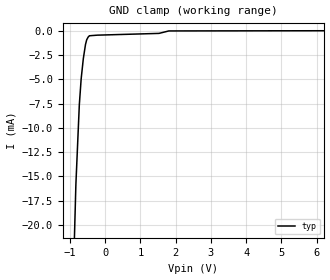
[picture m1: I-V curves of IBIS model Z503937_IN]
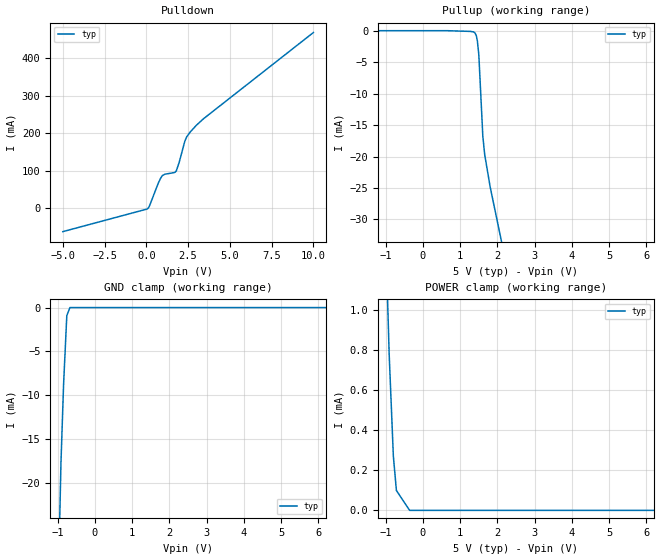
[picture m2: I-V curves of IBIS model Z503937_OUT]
| YOU ARE ONLY AUTHORIZED TO USE THIS SOFTWARE
| ACCORDING TO LICENSOR'S LICENSE RESTRICTIONS.
[IBIS Ver] 3.1
[File Name] mc54f379j.ibs
[File Rev] 2.0
[Source] Measured and created by ICX Technology
[Date] Friday 7/14/00 9:08:03 AM
[Copyright]
| (C) COPYRIGHT 1993-2000
| MENTOR GRAPHICS CORPORATION
| ICX STANDARD LIBRARY, ICX PROJECT MODELING,
| ICX CUSTOM MODELING, ICX VENDOR MODEL
| ALL RIGHTS RESERVED.
| THE FOLLOWING ARE TRADEMARKS OR SERVICE MARKS OF
| MENTOR GRAPHICS CORPORATION:ICX (R), ICX STANDARD
| LIBRARY(R), ICX PROJECT MODELING(R), ICX CUSTOM
| MODELING(R), qualityIBIS(TM), MODELVIEWER(TM),
| AND MODELEDITOR(TM)
| ALL COPIES OF SOFTWARE, INCLUDING BUT NOT LIMITED TO
| ANY MODIFICATIONS, ENHANCEMENTS OR DERIVATIVE WORKS,
| MUST CONTAIN ALL MENTOR GRAPHICS CORPORATION'S
| NOTICES AND LEGENDS, INCLUDING THOSE EMBEDDED IN
| SOFTWARE AND THOSE AFFIXED TO SOFTWARE MEDIUM
| AND CONTAINER, AS RECEIVED FROM MENTOR GRAPHICS
| CORPORATION.
|  ZAP Model Builder 2.7
[Component] MC54F379J
[Manufacturer] OnSemiconductor
[Package]
| variable   typ   min   max
R_pkg  .212ohms NA NA
L_pkg  4.758nH NA NA
C_pkg  1.944pF NA NA
[Pin] signal_name  model_name  R_pin  L_pin C_pin
1 _G Z503937_IN .224 7.258n 2.683p
2 Q0 Z503937_OUT .216 5.258n 2.19p
3 _Q0 Z503937_OUT .208 3.758n 1.697p
4 D0 Z503937_IN .2 2.758n 1.204p
5 D1 Z503937_IN .2 2.758n 1.204p
6 _Q1 Z503937_OUT .208 3.758n 1.697p
7 Q1 Z503937_OUT .216 5.258n 2.19p
8 GND GND .224 7.258n 2.683p
9 CLK Z503937_IN .224 7.258n 2.683p
10 Q2 Z503937_OUT .216 5.258n 2.19p
11 _Q2 Z503937_OUT .208 3.758n 1.697p
12 D2 Z503937_IN .2 2.758n 1.204p
13 D3 Z503937_IN .2 2.758n 1.204p
14 _Q3 Z503937_OUT .208 3.758n 1.697p
15 Q3 Z503937_OUT .216 5.258n 2.19p
16 VCC POWER .224 7.258n 2.683p
| Models and submodels in the file (2): Z503937_IN (Input), Z503937_OUT (Output)
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| (C) COPYRIGHT 1993-2000
| MENTOR GRAPHICS CORPORATION
| ICX STANDARD LIBRARY, ICX PROJECT MODELING,
| ICX CUSTOM MODELING, ICX VENDOR MODEL
| ALL RIGHTS RESERVED.
| THE FOLLOWING ARE TRADEMARKS OR SERVICE MARKS OF
| MENTOR GRAPHICS CORPORATION:ICX (R), ICX STANDARD
| LIBRARY(R), ICX PROJECT MODELING(R), ICX CUSTOM
| MODELING(R), qualityIBIS(TM), MODELVIEWER(TM),
| AND MODELEDITOR(TM)
| ALL COPIES OF SOFTWARE, INCLUDING BUT NOT LIMITED TO
| ANY MODIFICATIONS, ENHANCEMENTS OR DERIVATIVE WORKS,
| MUST CONTAIN ALL MENTOR GRAPHICS CORPORATION'S
| NOTICES AND LEGENDS, INCLUDING THOSE EMBEDDED IN
| SOFTWARE AND THOSE AFFIXED TO SOFTWARE MEDIUM
| AND CONTAINER, AS RECEIVED FROM MENTOR GRAPHICS
| CORPORATION.
| Model Application Version 1.89 2/18/99.
[Model] Z503937_IN
Model_type Input
Vinl = 800.0mV
Vinh = 2.000V
C_comp 4.000pF NA NA
| variable typ   min   max
[Voltage Range] 5.000V NA NA
[GND Clamp Reference] 0.000V NA NA
[POWER Clamp Reference] 5.000V NA NA
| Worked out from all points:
|   GND clamp passes 1 mA (typ) near -0.53 V on its own axis
[GND Clamp]
-5V       -568mA     NA         NA
-828.2mV  -15.83mA   NA         NA
-731.2mV  -7.644mA   NA         NA
-678.8mV  -4.953mA   NA         NA
-617mV    -2.849mA   NA         NA
-556mV    -1.412mA   NA         NA
-521.9mV  -924.2uA   NA         NA
-478.9mV  -630.6uA   NA         NA
-443.5mV  -506.6uA   NA         NA
1.528V    -262.6uA   NA         NA
1.807V    -8.431uA   NA         NA
10V       28.95uA    NA         NA
[POWER Clamp]
-5V       0A         NA         NA
10V       0A         NA         NA
| (C) COPYRIGHT 1993-2000
| MENTOR GRAPHICS CORPORATION
| ICX STANDARD LIBRARY, ICX PROJECT MODELING,
| ICX CUSTOM MODELING, ICX VENDOR MODEL
| ALL RIGHTS RESERVED.
| THE FOLLOWING ARE TRADEMARKS OR SERVICE MARKS OF
| MENTOR GRAPHICS CORPORATION:ICX (R), ICX STANDARD
| LIBRARY(R), ICX PROJECT MODELING(R), ICX CUSTOM
| MODELING(R), qualityIBIS(TM), MODELVIEWER(TM),
| AND MODELEDITOR(TM)
| ALL COPIES OF SOFTWARE, INCLUDING BUT NOT LIMITED TO
| ANY MODIFICATIONS, ENHANCEMENTS OR DERIVATIVE WORKS,
| MUST CONTAIN ALL MENTOR GRAPHICS CORPORATION'S
| NOTICES AND LEGENDS, INCLUDING THOSE EMBEDDED IN
| SOFTWARE AND THOSE AFFIXED TO SOFTWARE MEDIUM
| AND CONTAINER, AS RECEIVED FROM MENTOR GRAPHICS
| CORPORATION.
| Model Application Version 1.89 2/18/99.
[Model] Z503937_OUT
Model_type Output
Vref=0.000V
Rref=500.0ohms
Cref=50.00pF
Vmeas=1.500V
C_comp 8.000pF NA NA
| variable typ   min   max
[Voltage Range] 5.000V NA NA
[POWER Clamp Reference] 5.000V NA NA
[Pullup Reference] 5.000V NA NA
[Pulldown Reference] 0.000V NA NA
[GND Clamp Reference] 0.000V NA NA
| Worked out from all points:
|   slope of the pulldown table from 0 to 0.75 V, typ, clamps not added: 10.3 ohm
|   slope of the pullup table from 0 to 0.75 V, typ, clamps not added: 45.9 kohm
|   GND clamp passes 1 mA (typ) near -0.76 V on its own axis
[GND Clamp]
-5V       -1.59A     NA         NA
-1.239V   -102mA     NA         NA
-1.042V   -42.82mA   NA         NA
-913.8mV  -17.81mA   NA         NA
-842.8mV  -8.766mA   NA         NA
-756.5mV  -926.6uA   NA         NA
-672.4mV  0A         NA         NA
10V       0A         NA         NA
[Pulldown]
-5V       -61.94mA   NA         NA
69.43mV   -1.009mA   NA         NA
184.9mV   6.157mA    NA         NA
714.8mV   67.27mA    NA         NA
952.6mV   87.19mA    NA         NA
1.68V     95.55mA    NA         NA
1.797V    100.4mA    NA         NA
1.971V    123.4mA    NA         NA
2.308V    179.7mA    NA         NA
2.413V    190.5mA    NA         NA
2.998V    221.6mA    NA         NA
10V       468.7mA    NA         NA
[Pullup]
-5V       13.22uA    NA         NA
662mV     13.22uA    NA         NA
1.279V    -101.4uA   NA         NA
1.362V    -176.9uA   NA         NA
1.4V      -336.7uA   NA         NA
1.435V    -761uA     NA         NA
1.465V    -1.603mA   NA         NA
1.504V    -3.853mA   NA         NA
1.611V    -16.74mA   NA         NA
1.66V     -19.63mA   NA         NA
1.807V    -24.79mA   NA         NA
10V       -258.6mA   NA         NA
[POWER Clamp]
-5V       26.67mA    NA         NA
-903mV    779.4uA    NA         NA
-791mV    271.3uA    NA         NA
-709mV    99.38uA    NA         NA
-354.5mV  0A         NA         NA
10V       0A         NA         NA
[Ramp]
| variable typ min max
dV/dt_r 2.030/1.057n NA NA
dV/dt_f 2.030/993.1p NA NA
R_load = 500.0Ohms
